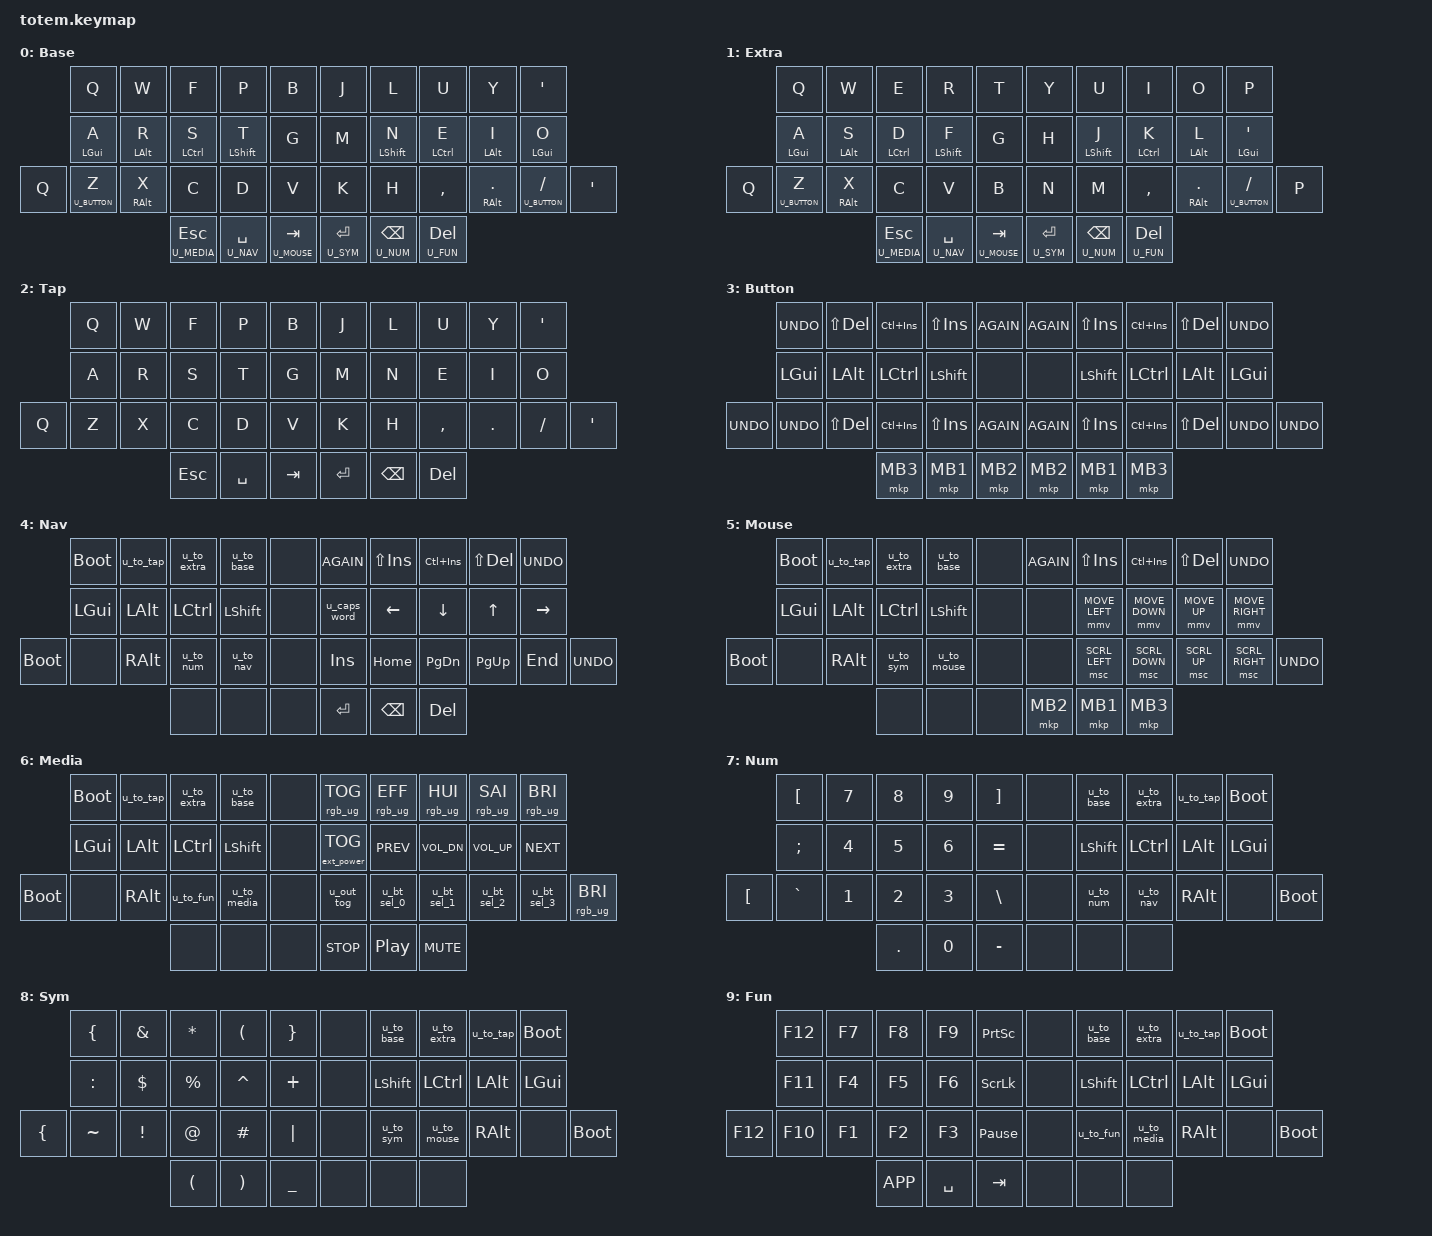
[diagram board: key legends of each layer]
// Miryoku layout (https://github.com/manna-harbour/miryoku) for the Totem keyboard.
// Self-contained port: everything Miryoku would normally assemble from
// miryoku_zmk/miryoku/*.dtsi + miryoku/mapping/38/totem.h has been expanded
// in place, so this single file has no dependency on the miryoku_zmk sources.
//
// Options selected:
//   MIRYOKU_ALPHAS = COLEMAKDH   (Base layer:  Colemak Mod-DH)
//   MIRYOKU_TAP    = COLEMAKDH   (Tap layer:   Colemak Mod-DH, no hold-taps)
//   MIRYOKU_EXTRA  = QWERTY      (Extra layer: QWERTY)
//   MIRYOKU_NAV    = default     (Nav layer:   standard Miryoku cursor placement)
//   Clipboard bindings left at Miryoku's default (X11-style: LS(INS)/LC(INS)/LS(DEL)).
//
// Layers: Base, Extra, Tap, Button, Nav, Mouse, Media, Num, Sym, Fun.

#include <behaviors.dtsi>
#include <behaviors/mouse_keys.dtsi>
#include <dt-bindings/zmk/keys.h>
#include <dt-bindings/zmk/bt.h>
#include <dt-bindings/zmk/rgb.h>
#include <dt-bindings/zmk/outputs.h>
#include <dt-bindings/zmk/ext_power.h>
#include <dt-bindings/zmk/pointing.h>

#define U_BASE   0
#define U_EXTRA  1
#define U_TAP    2
#define U_BUTTON 3
#define U_NAV    4
#define U_MOUSE  5
#define U_MEDIA  6
#define U_NUM    7
#define U_SYM    8
#define U_FUN    9

&mmv {
    acceleration-exponent = <1>;
    time-to-max-speed-ms = <1500>;
    delay-ms = <0>;
};

/ {
    behaviors {
       /*   Home row mods and thumb layer-taps.
        *   tap-preferred: rolling to another key before the tapping
        *   term elapses resolves to a tap, so normal typing isn't
        *   held hostage waiting to see if a hold was intended.
        */
        u_mt: u_mt {
            compatible = "zmk,behavior-hold-tap";
            #binding-cells = <2>;
            tapping-term-ms = <200>;
            flavor = "tap-preferred";
            bindings = <&kp>, <&kp>;
        };

        u_lt: u_lt {
            compatible = "zmk,behavior-hold-tap";
            #binding-cells = <2>;
            tapping-term-ms = <200>;
            flavor = "tap-preferred";
            bindings = <&mo>, <&kp>;
        };

       /*   Shifted variants for a few adjust-layer keys: hold shift and
        *   tap the same physical key to get a related but distinct action.
        */
        u_bt_sel_0: u_bt_sel_0 {
            compatible = "zmk,behavior-mod-morph";
            #binding-cells = <0>;
            bindings = <&bt BT_SEL 0>, <&u_macro_bt_sel_0>;
            mods = <(MOD_LSFT|MOD_RSFT)>;
        };

        u_bt_sel_1: u_bt_sel_1 {
            compatible = "zmk,behavior-mod-morph";
            #binding-cells = <0>;
            bindings = <&bt BT_SEL 1>, <&u_macro_bt_sel_1>;
            mods = <(MOD_LSFT|MOD_RSFT)>;
        };

        u_bt_sel_2: u_bt_sel_2 {
            compatible = "zmk,behavior-mod-morph";
            #binding-cells = <0>;
            bindings = <&bt BT_SEL 2>, <&u_macro_bt_sel_2>;
            mods = <(MOD_LSFT|MOD_RSFT)>;
        };

        u_bt_sel_3: u_bt_sel_3 {
            compatible = "zmk,behavior-mod-morph";
            #binding-cells = <0>;
            bindings = <&bt BT_SEL 3>, <&u_macro_bt_sel_3>;
            mods = <(MOD_LSFT|MOD_RSFT)>;
        };

        u_out_tog: u_out_tog {
            compatible = "zmk,behavior-mod-morph";
            #binding-cells = <0>;
            bindings = <&out OUT_TOG>, <&out OUT_USB>;
            mods = <(MOD_LSFT|MOD_RSFT)>;
        };

        u_caps_word: u_caps_word {
            compatible = "zmk,behavior-mod-morph";
            #binding-cells = <0>;
            bindings = <&caps_word>, <&kp CAPS>;
            mods = <(MOD_LSFT|MOD_RSFT)>;
        };

       /*   Double-tap guards for permanent layer switches ("to <layer>").
        *   A single tap does nothing, so brushing one of these keys while
        *   reaching for something else can't strand you on the wrong layer.
        */
        u_to_base: u_to_base {
            compatible = "zmk,behavior-tap-dance";
            #binding-cells = <0>;
            tapping-term-ms = <200>;
            bindings = <&none>, <&to U_BASE>;
        };

        u_to_extra: u_to_extra {
            compatible = "zmk,behavior-tap-dance";
            #binding-cells = <0>;
            tapping-term-ms = <200>;
            bindings = <&none>, <&to U_EXTRA>;
        };

        u_to_tap: u_to_tap {
            compatible = "zmk,behavior-tap-dance";
            #binding-cells = <0>;
            tapping-term-ms = <200>;
            bindings = <&none>, <&to U_TAP>;
        };

        u_to_nav: u_to_nav {
            compatible = "zmk,behavior-tap-dance";
            #binding-cells = <0>;
            tapping-term-ms = <200>;
            bindings = <&none>, <&to U_NAV>;
        };

        u_to_mouse: u_to_mouse {
            compatible = "zmk,behavior-tap-dance";
            #binding-cells = <0>;
            tapping-term-ms = <200>;
            bindings = <&none>, <&to U_MOUSE>;
        };

        u_to_media: u_to_media {
            compatible = "zmk,behavior-tap-dance";
            #binding-cells = <0>;
            tapping-term-ms = <200>;
            bindings = <&none>, <&to U_MEDIA>;
        };

        u_to_num: u_to_num {
            compatible = "zmk,behavior-tap-dance";
            #binding-cells = <0>;
            tapping-term-ms = <200>;
            bindings = <&none>, <&to U_NUM>;
        };

        u_to_sym: u_to_sym {
            compatible = "zmk,behavior-tap-dance";
            #binding-cells = <0>;
            tapping-term-ms = <200>;
            bindings = <&none>, <&to U_SYM>;
        };

        u_to_fun: u_to_fun {
            compatible = "zmk,behavior-tap-dance";
            #binding-cells = <0>;
            tapping-term-ms = <200>;
            bindings = <&none>, <&to U_FUN>;
        };
    };

    macros {
        u_macro_bt_sel_0: u_macro_bt_sel_0 {
            compatible = "zmk,behavior-macro";
            #binding-cells = <0>;
            wait-ms = <0>;
            bindings = <&bt BT_SEL 0 &bt BT_CLR>;
        };

        u_macro_bt_sel_1: u_macro_bt_sel_1 {
            compatible = "zmk,behavior-macro";
            #binding-cells = <0>;
            wait-ms = <0>;
            bindings = <&bt BT_SEL 1 &bt BT_CLR>;
        };

        u_macro_bt_sel_2: u_macro_bt_sel_2 {
            compatible = "zmk,behavior-macro";
            #binding-cells = <0>;
            wait-ms = <0>;
            bindings = <&bt BT_SEL 2 &bt BT_CLR>;
        };

        u_macro_bt_sel_3: u_macro_bt_sel_3 {
            compatible = "zmk,behavior-macro";
            #binding-cells = <0>;
            wait-ms = <0>;
            bindings = <&bt BT_SEL 3 &bt BT_CLR>;
        };
    };

/* ----------------------------------------------------------------------------------------------------------------------------------------------------
   BASE - Colemak Mod-DH                                                     EXTRA - QWERTY (accessed via a thumb-held layer)
              ┏━━━━━━━━━━━┳━━━━━━━━━━━┳━━━━━━━━━━━┳━━━━━━━━━━━┳━━━━━━━━━━━┓   ┏━━━━━━━━━━━┳━━━━━━━━━━━┳━━━━━━━━━━━┳━━━━━━━━━━━┳━━━━━━━━━━━┓
              ┃     q     ┃     w     ┃     f     ┃     p     ┃     b     ┃   ┃     j     ┃     l     ┃     u     ┃     y     ┃     '     ┃
              ┣━━━━━━━━━━━╋━━━━━━━━━━━╋━━━━━━━━━━━╋━━━━━━━━━━━╋━━━━━━━━━━━┫   ┣━━━━━━━━━━━╋━━━━━━━━━━━╋━━━━━━━━━━━╋━━━━━━━━━━━╋━━━━━━━━━━━┫
              ┃  a (gui)  ┃  r (alt)  ┃  s (ctl)  ┃  t (sft)  ┃     g     ┃   ┃     m     ┃  n (sft)  ┃  e (ctl)  ┃  i (alt)  ┃  o (gui)  ┃
  ┏━━━━━━━━━━━╋━━━━━━━━━━━╋━━━━━━━━━━━╋━━━━━━━━━━━╋━━━━━━━━━━━╋━━━━━━━━━━━┫   ┣━━━━━━━━━━━╋━━━━━━━━━━━╋━━━━━━━━━━━╋━━━━━━━━━━━╋━━━━━━━━━━━╋━━━━━━━━━━━┓
  ┃    (q)    ┃  z (btn)  ┃  x (alt)  ┃     c     ┃     d     ┃     v     ┃   ┃     k     ┃     h     ┃     ,     ┃  . (alt)  ┃  / (btn)  ┃    (')    ┃
  ┗━━━━━━━━━━━┻━━━━━━━━━━━┻━━━━━━━━━━━╋━━━━━━━━━━━╋━━━━━━━━━━━╋━━━━━━━━━━━┫   ┣━━━━━━━━━━━╋━━━━━━━━━━━╋━━━━━━━━━━━┻━━━━━━━━━━━┻━━━━━━━━━━━┛
                                      ┃ esc(media)┃ spc (nav) ┃ tab(mouse)┃   ┃  ret (sym)┃ bspc (num)┃  del (fun)┃
                                      ┗━━━━━━━━━━━┻━━━━━━━━━━━┻━━━━━━━━━━━┛   ┗━━━━━━━━━━━┻━━━━━━━━━━━┻━━━━━━━━━━━┛

   TAP is the same alphas as Base with no hold-taps at all (every key is a plain &kp) -
   reached by double-tapping the top-left key while Nav/Mouse/Media is held, in case a
   hold-tap ever misfires against a game or remote session. Extra is QWERTY, useful for
   positional shortcuts (e.g. WASD, Ctrl+Z/X/C/V) regardless of the Base alpha layout.
---------------------------------------------------------------------------------------------------------------------------------------------------- */
    keymap {
        compatible = "zmk,keymap";

        base_layer {
            label = "Base";
            bindings = <
                &kp Q          &kp W          &kp F          &kp P          &kp B              &kp J          &kp L          &kp U          &kp Y          &kp SQT
                &u_mt LGUI A   &u_mt LALT R   &u_mt LCTRL S  &u_mt LSHFT T  &kp G              &kp M          &u_mt LSHFT N  &u_mt LCTRL E  &u_mt LALT I   &u_mt LGUI O
    &kp Q       &u_lt U_BUTTON Z  &u_mt RALT X   &kp C          &kp D          &kp V              &kp K          &kp H          &kp COMMA      &u_mt RALT DOT &u_lt U_BUTTON SLASH  &kp SQT
                                              &u_lt U_MEDIA ESC  &u_lt U_NAV SPACE  &u_lt U_MOUSE TAB   &u_lt U_SYM RET    &u_lt U_NUM BSPC   &u_lt U_FUN DEL
            >;
        };

        extra_layer {
            label = "Extra";
            bindings = <
                &kp Q          &kp W          &kp E          &kp R          &kp T              &kp Y          &kp U          &kp I          &kp O          &kp P
                &u_mt LGUI A   &u_mt LALT S   &u_mt LCTRL D  &u_mt LSHFT F  &kp G              &kp H          &u_mt LSHFT J  &u_mt LCTRL K  &u_mt LALT L   &u_mt LGUI SQT
    &kp Q       &u_lt U_BUTTON Z  &u_mt RALT X   &kp C          &kp V          &kp B              &kp N          &kp M          &kp COMMA      &u_mt RALT DOT &u_lt U_BUTTON SLASH  &kp P
                                              &u_lt U_MEDIA ESC  &u_lt U_NAV SPACE  &u_lt U_MOUSE TAB   &u_lt U_SYM RET    &u_lt U_NUM BSPC   &u_lt U_FUN DEL
            >;
        };

        tap_layer {
            label = "Tap";
            bindings = <
                &kp Q       &kp W       &kp F       &kp P       &kp B              &kp J       &kp L       &kp U       &kp Y       &kp SQT
                &kp A       &kp R       &kp S       &kp T       &kp G              &kp M       &kp N       &kp E       &kp I       &kp O
    &kp Q       &kp Z       &kp X       &kp C       &kp D       &kp V              &kp K       &kp H       &kp COMMA   &kp DOT     &kp SLASH   &kp SQT
                                    &kp ESC     &kp SPACE   &kp TAB            &kp RET     &kp BSPC    &kp DEL
            >;
        };

        button_layer {
            label = "Button";
            bindings = <
                &kp K_UNDO  &kp LS(DEL) &kp LC(INS) &kp LS(INS) &kp K_AGAIN        &kp K_AGAIN &kp LS(INS) &kp LC(INS) &kp LS(DEL) &kp K_UNDO
                &kp LGUI    &kp LALT    &kp LCTRL   &kp LSHFT   &none              &none       &kp LSHFT   &kp LCTRL   &kp LALT    &kp LGUI
    &kp K_UNDO  &kp K_UNDO  &kp LS(DEL) &kp LC(INS) &kp LS(INS) &kp K_AGAIN        &kp K_AGAIN &kp LS(INS) &kp LC(INS) &kp LS(DEL) &kp K_UNDO  &kp K_UNDO
                                    &mkp MB3    &mkp MB1    &mkp MB2           &mkp MB2    &mkp MB1    &mkp MB3
            >;
        };

/* ---------------------------------------------------------------------------------------------------------------------------------------------------
   NAV - default: standard Miryoku cursor placement (one column in from the pinky).
---------------------------------------------------------------------------------------------------------------------------------------------------- */
        nav_layer {
            label = "Nav";
            bindings = <
                &bootloader &u_to_tap   &u_to_extra &u_to_base  &none              &kp K_AGAIN &kp LS(INS) &kp LC(INS) &kp LS(DEL) &kp K_UNDO
                &kp LGUI    &kp LALT    &kp LCTRL   &kp LSHFT   &none              &u_caps_word &kp LEFT   &kp DOWN    &kp UP      &kp RIGHT
    &bootloader &none       &kp RALT    &u_to_num   &u_to_nav   &none              &kp INS     &kp HOME    &kp PG_DN   &kp PG_UP   &kp END     &kp K_UNDO
                                    &none       &none       &none              &kp RET     &kp BSPC    &kp DEL
            >;
        };

        mouse_layer {
            label = "Mouse";
            bindings = <
                &bootloader &u_to_tap   &u_to_extra &u_to_base  &none              &kp K_AGAIN &kp LS(INS) &kp LC(INS) &kp LS(DEL) &kp K_UNDO
                &kp LGUI    &kp LALT    &kp LCTRL   &kp LSHFT   &none              &none       &mmv MOVE_LEFT &mmv MOVE_DOWN &mmv MOVE_UP &mmv MOVE_RIGHT
    &bootloader &none       &kp RALT    &u_to_sym   &u_to_mouse &none              &none       &msc SCRL_LEFT &msc SCRL_DOWN &msc SCRL_UP &msc SCRL_RIGHT &kp K_UNDO
                                    &none       &none       &none              &mkp MB2    &mkp MB1    &mkp MB3
            >;
        };

        media_layer {
            label = "Media";
            bindings = <
                &bootloader &u_to_tap   &u_to_extra &u_to_base  &none              &rgb_ug RGB_TOG &rgb_ug RGB_EFF &rgb_ug RGB_HUI &rgb_ug RGB_SAI &rgb_ug RGB_BRI
                &kp LGUI    &kp LALT    &kp LCTRL   &kp LSHFT   &none              &ext_power EP_TOG &kp C_PREV &kp C_VOL_DN &kp C_VOL_UP &kp C_NEXT
    &bootloader &none       &kp RALT    &u_to_fun   &u_to_media &none              &u_out_tog  &u_bt_sel_0 &u_bt_sel_1 &u_bt_sel_2 &u_bt_sel_3 &rgb_ug RGB_BRI
                                    &none       &none       &none              &kp C_STOP  &kp C_PP    &kp C_MUTE
            >;
        };

        num_layer {
            label = "Num";
            bindings = <
                &kp LBKT    &kp N7      &kp N8      &kp N9      &kp RBKT           &none       &u_to_base  &u_to_extra &u_to_tap   &bootloader
                &kp SEMI    &kp N4      &kp N5      &kp N6      &kp EQUAL          &none       &kp LSHFT   &kp LCTRL   &kp LALT    &kp LGUI
    &kp LBKT    &kp GRAVE   &kp N1      &kp N2      &kp N3      &kp BSLH           &none       &u_to_num   &u_to_nav   &kp RALT    &none       &bootloader
                                    &kp DOT     &kp N0      &kp MINUS          &none       &none       &none
            >;
        };

        sym_layer {
            label = "Sym";
            bindings = <
                &kp LBRC    &kp AMPS    &kp ASTRK   &kp LPAR    &kp RBRC           &none       &u_to_base  &u_to_extra &u_to_tap   &bootloader
                &kp COLON   &kp DLLR    &kp PRCNT   &kp CARET   &kp PLUS           &none       &kp LSHFT   &kp LCTRL   &kp LALT    &kp LGUI
    &kp LBRC    &kp TILDE   &kp EXCL    &kp AT      &kp HASH    &kp PIPE           &none       &u_to_sym   &u_to_mouse &kp RALT    &none       &bootloader
                                    &kp LPAR    &kp RPAR    &kp UNDER          &none       &none       &none
            >;
        };

        fun_layer {
            label = "Fun";
            bindings = <
                &kp F12     &kp F7      &kp F8      &kp F9      &kp PSCRN          &none       &u_to_base  &u_to_extra &u_to_tap   &bootloader
                &kp F11     &kp F4      &kp F5      &kp F6      &kp SLCK           &none       &kp LSHFT   &kp LCTRL   &kp LALT    &kp LGUI
    &kp F12     &kp F10     &kp F1      &kp F2      &kp F3      &kp PAUSE_BREAK    &none       &u_to_fun   &u_to_media &kp RALT    &none       &bootloader
                                    &kp K_APP   &kp SPACE   &kp TAB            &none       &none       &none
            >;
        };
    };
};
